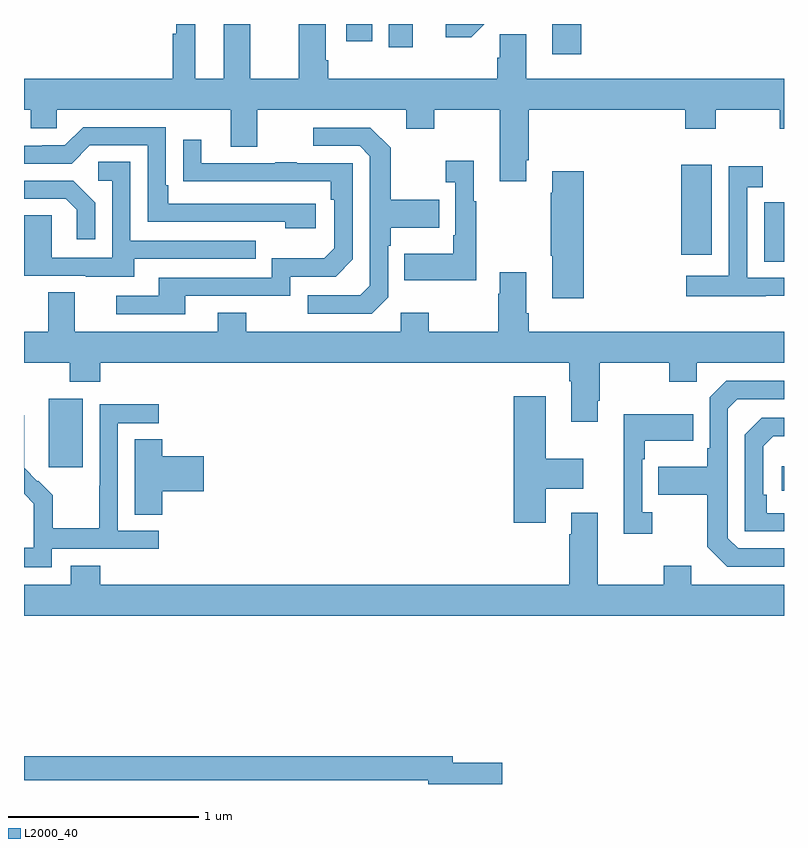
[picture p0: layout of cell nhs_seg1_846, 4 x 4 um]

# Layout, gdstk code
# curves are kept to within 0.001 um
import gdstk
lib = gdstk.Library(unit=1e-6, precision=1e-09)
def R(c, l, rs):  # rectangles x0, y0, x1, y1
    for r in rs: c.add(gdstk.rectangle(r[:2], r[2:], *l))
def P(c, l, *ps):  # polygons
    for p in ps: c.add(gdstk.Polygon(p, *l))
L2000_40 = (2000, 40)

nhs_seg1_846 = lib.new_cell('nhs_seg1_846')
R(nhs_seg1_846, L2000_40, [(160.989,533.742,161,533.872), (157.13,533.865,157.309,534.226), (160.895,534.949,161,535.26), (160.46,534.984,160.621,535.459), (159.779,536.04,159.932,536.199), (158.921,536.076,159.046,536.199), (158.697,536.109,158.833,536.199)])
P(nhs_seg1_846, L2000_40, [(159.643,535.483),(159.656,535.483),(159.656,535.748),(160.481,535.748),(160.481,535.649),(160.641,535.649),(160.641,535.748),(160.978,535.748),(160.978,535.649),(161,535.649),(161,535.912),(159.643,535.912),(159.643,536.144),(159.504,536.144),(159.504,536.022),(159.491,536.022),(159.491,535.912),(158.6,535.912),(158.6,536.008),(158.587,536.008),(158.587,536.199),(158.447,536.199),(158.447,535.912),(158.191,535.912),(158.191,536.199),(158.051,536.199),(158.051,535.912),(157.9,535.912),(157.9,536.199),(157.802,536.199),(157.802,536.148),(157.783,536.148),(157.783,535.912),(157,535.912),(157,535.748),(157.035,535.748),(157.035,535.65),(157.173,535.65),(157.173,535.748),(158.087,535.748),(158.087,535.554),(158.227,535.554),(158.227,535.748),(159.011,535.748),(159.011,535.649),(159.159,535.649),(159.159,535.748),(159.503,535.748),(159.503,535.371),(159.643,535.371)],
  [(159.423,536.199),(159.219,536.199),(159.219,536.13),(159.354,536.13)],
  [(158.536,535.254),(157.759,535.254),(157.759,535.351),(157.746,535.351),(157.746,535.656),(157.311,535.656),(157.215,535.56),(157.097,535.56),(157.097,535.557),(157,535.557),(157,535.464),(157.251,535.464),(157.347,535.56),(157.65,535.56),(157.65,535.158),(158.375,535.158),(158.375,535.124),(158.536,535.124)],
  [(158.916,534.762),(158.916,535.031),(158.929,535.031),(158.929,535.127),(159.185,535.127),(159.185,535.275),(158.929,535.275),(158.929,535.547),(158.823,535.653),(158.523,535.653),(158.523,535.557),(158.766,535.557),(158.82,535.503),(158.82,534.822),(158.769,534.771),(158.493,534.771),(158.493,534.675),(158.829,534.675)],
  [(157.849,534.768),(158.4,534.768),(158.4,534.87),(158.64,534.87),(158.73,534.96),(158.73,535.467),(158.435,535.467),(158.435,535.472),(158.323,535.472),(158.323,535.467),(157.933,535.467),(157.933,535.591),(157.837,535.591),(157.837,535.372),(158.614,535.371),(158.614,535.274),(158.634,535.274),(158.634,535.02),(158.581,534.967),(158.304,534.967),(158.304,534.864),(157.709,534.864),(157.709,534.768),(157.485,534.768),(157.485,534.672),(157.849,534.672)],
  [(159.379,535.267),(159.367,535.267),(159.367,535.48),(159.219,535.48),(159.219,535.367),(159.27,535.367),(159.27,535.087),(159.258,535.087),(159.258,534.991),(159.001,534.991),(159.001,534.851),(159.379,534.851)],
  [(157.579,534.963),(158.219,534.963),(158.219,535.059),(157.56,535.059),(157.56,535.475),(157.392,535.475),(157.392,535.374),(157.464,535.374),(157.464,534.969),(157.146,534.969),(157.146,535.193),(157.001,535.193),(157.001,534.873),(157.325,534.873),(157.325,534.869),(157.579,534.869)],
  [(160.903,534.768),(161,534.768),(161,534.864),(160.806,534.864),(160.806,535.341),(160.888,535.341),(160.888,535.45),(160.71,535.45),(160.71,534.874),(160.485,534.874),(160.485,534.767),(160.903,534.767)],
  [(159.947,535.423),(159.779,535.423),(159.779,535.31),(159.772,535.31),(159.772,534.979),(159.779,534.979),(159.779,534.756),(159.947,534.756)],
  [(157.374,535.258),(157.258,535.374),(157,535.374),(157,535.278),(157.22,535.278),(157.277,535.221),(157.277,535.065),(157.374,535.065)],
  [(160.021,534.217),(160.029,534.217),(160.029,534.416),(160.396,534.416),(160.396,534.317),(160.542,534.317),(160.542,534.416),(161,534.416),(161,534.58),(159.656,534.58),(159.656,534.676),(159.643,534.676),(159.643,534.892),(159.503,534.892),(159.503,534.779),(159.496,534.779),(159.496,534.58),(159.129,534.58),(159.129,534.679),(158.982,534.679),(158.982,534.58),(158.169,534.58),(158.169,534.679),(158.021,534.679),(158.021,534.58),(157.267,534.58),(157.267,534.788),(157.127,534.788),(157.127,534.58),(157,534.58),(157,534.416),(157.24,534.416),(157.24,534.317),(157.4,534.317),(157.4,534.416),(159.869,534.416),(159.869,534.32),(159.881,534.32),(159.881,534.105),(160.021,534.105)],
  [(161,533.439),(160.758,533.439),(160.704,533.493),(160.704,534.174),(160.755,534.225),(161,534.225),(161,534.321),(160.695,534.321),(160.608,534.234),(160.608,533.965),(160.596,533.965),(160.596,533.869),(160.339,533.869),(160.339,533.722),(160.596,533.722),(160.596,533.449),(160.701,533.343),(161,533.343)],
  [(159.745,533.753),(159.943,533.753),(159.943,533.911),(159.745,533.911),(159.745,534.241),(159.578,534.241),(159.578,533.574),(159.745,533.574)],
  [(157.146,533.436),(157.708,533.436),(157.708,533.532),(157.494,533.532),(157.494,534.099),(157.708,534.099),(157.708,534.198),(157.398,534.198),(157.398,533.768),(157.396,533.768),(157.396,533.545),(157.151,533.545),(157.151,533.719),(157.074,533.796),(157.071,533.793),(157.001,533.864),(157.002,534.14),(157,534.14),(157,533.726),(157.052,533.674),(157.052,533.577),(157.05,533.577),(157.05,533.443),(157,533.443),(157,533.339),(157.146,533.339)],
  [(160.306,533.63),(160.254,533.63),(160.254,533.909),(160.267,533.909),(160.267,534.005),(160.523,534.005),(160.523,534.145),(160.157,534.145),(160.157,533.517),(160.306,533.517)],
  [(161,533.625),(160.91,533.625),(160.91,533.722),(160.89,533.722),(160.89,533.976),(160.943,534.029),(161,534.029),(161,534.126),(160.884,534.126),(160.794,534.036),(160.794,533.529),(161,533.529)],
  [(157.727,533.741),(157.945,533.741),(157.945,533.924),(157.727,533.924),(157.727,534.014),(157.583,534.014),(157.583,533.617),(157.727,533.617)],
  [(161,533.248),(160.513,533.248),(160.513,533.347),(160.366,533.347),(160.366,533.248),(160.021,533.248),(160.021,533.626),(159.881,533.626),(159.881,533.513),(159.869,533.513),(159.869,533.248),(157.4,533.248),(157.4,533.347),(157.247,533.347),(157.247,533.248),(157,533.248),(157,533.084),(161,533.084)],
  [(159.517,532.31),(159.256,532.31),(159.256,532.346),(157,532.346),(157,532.218),(159.128,532.218),(159.128,532.199),(159.517,532.199)])

lib.write_gds('nhs_seg1_846.gds')
